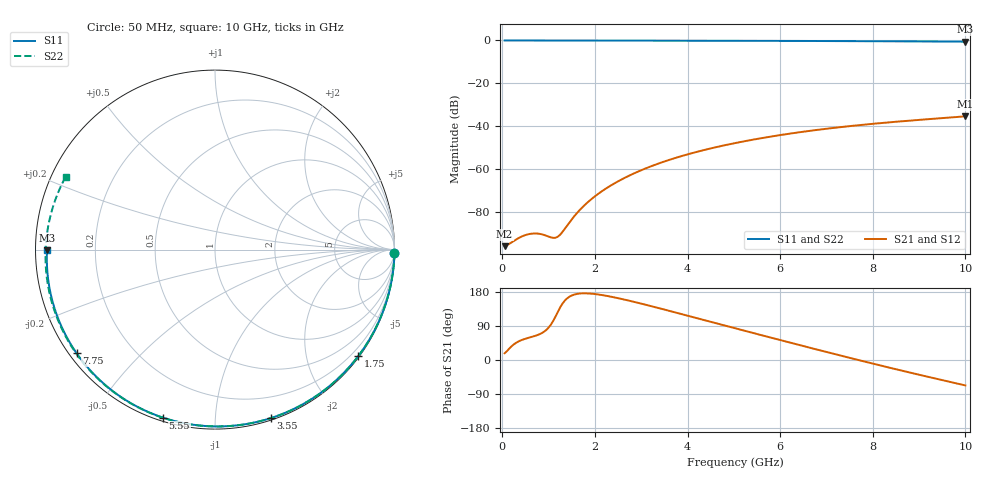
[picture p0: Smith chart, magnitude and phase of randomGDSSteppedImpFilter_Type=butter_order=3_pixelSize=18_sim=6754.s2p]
! freq	dB(S11)	phase(S11)	dB(S12)	phase(S12)
!  dB(S21)	phase(S21)	dB(S22)	phase(S22)
!S-par simulation data
#  GHz  S  DB  R 50
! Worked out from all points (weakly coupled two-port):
!   200 points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, 50 MHz to 10 GHz, reference 50 ohm
!   highest |S21| = -35.31 dB at 10 GHz (marker M1); lowest = -95.7 dB at 50 MHz (marker M2)
!   lowest |S11| = -0.6 dB at 10 GHz (marker M3), VSWR 30.24, Z = 1.65 - j0.082 ohm
!   |S11| at or under -10 dB: nowhere
!   |S22| runs from -0.7 to 0.0 dB; largest |S21 - S12| = 0
!   S11 on the Smith chart (normalised r, x): 50 MHz: open; 1.75 GHz: 0.03, -3.03; 3.55 GHz: 0.02, -1.38; 5.55 GHz: 0.02, -0.74; 7.75 GHz: 0.02, -0.33; 10 GHz: 0.03, -0.00
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0.05  -0.00 -1.1  -95.70 17.8  -95.70 17.8  -0.00 -1.1
0.8  -0.02 -16.9  -89.95 67.9  -89.95 67.9  -0.02 -17.6
1.6  -0.04 -33.5  -80.59 174.0  -80.59 174.0  -0.04 -34.8
1.65  -0.04 -34.5  -79.39 175.1  -79.39 175.1  -0.05 -35.9
1.75  -0.05 -36.6  -77.17 175.9  -77.17 175.9  -0.05 -38.0
2.05  -0.05 -42.6  -71.69 173.3  -71.69 173.3  -0.06 -44.4
2.45  -0.07 -50.6  -66.14 164.5  -66.14 164.5  -0.07 -52.7
2.9  -0.08 -59.4  -61.30 151.8  -61.30 151.8  -0.08 -62.0
3.4  -0.09 -68.9  -57.05 136.3  -57.05 136.3  -0.10 -72.1
3.55  -0.10 -71.7  -55.95 131.5  -55.95 131.5  -0.10 -75.1
4.3  -0.12 -85.5  -51.28 107.2  -51.28 107.2  -0.13 -89.9
5.05  -0.15 -98.7  -47.64 83.0  -47.64 83.0  -0.16 -104.3
5.55  -0.17 -107.2  -45.63 67.0  -45.63 67.0  -0.19 -113.8
6.1  -0.21 -116.4  -43.70 49.5  -43.70 49.5  -0.22 -124.2
6.7  -0.24 -126.3  -41.88 30.6  -41.88 30.6  -0.27 -135.6
7.25  -0.28 -135.2  -40.44 13.4  -40.44 13.4  -0.32 -146.2
7.75  -0.32 -143.2  -39.30 -2.0  -39.30 -2.0  -0.37 -156.0
8.35  -0.38 -152.8  -38.10 -20.0  -38.10 -20.0  -0.43 -168.3
8.8  -0.43 -160.1  -37.29 -33.1  -37.29 -33.1  -0.49 -177.9
9.2  -0.47 -166.6  -36.61 -44.6  -36.61 -44.6  -0.54 173.2
9.6  -0.52 -173.1  -35.96 -55.9  -35.96 -55.9  -0.60 163.9
10  -0.57 -179.8  -35.31 -67.1  -35.31 -67.1  -0.67 154.1
